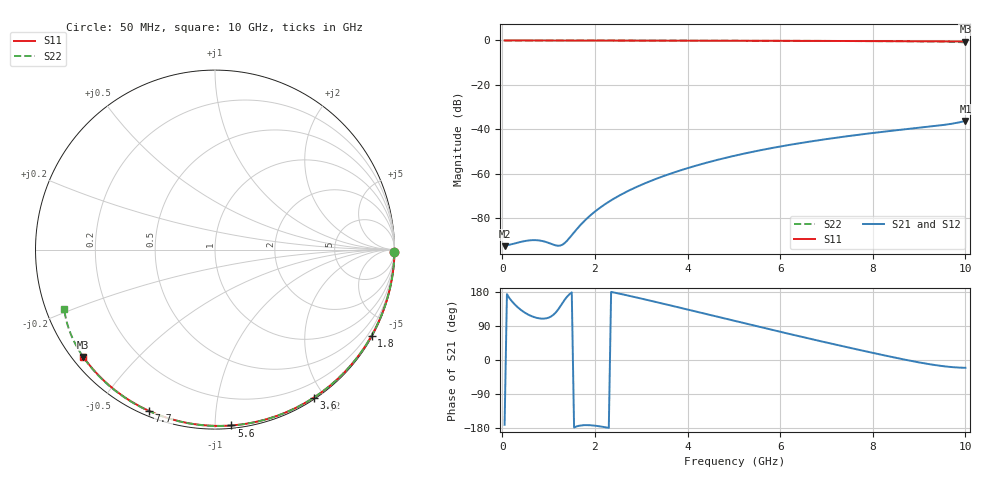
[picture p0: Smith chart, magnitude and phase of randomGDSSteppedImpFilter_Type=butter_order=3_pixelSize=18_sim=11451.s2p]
! freq	dB(S11)	phase(S11)	dB(S12)	phase(S12)
!  dB(S21)	phase(S21)	dB(S22)	phase(S22)
!S-par simulation data
#  GHz  S  DB  R 50
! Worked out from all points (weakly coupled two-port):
!   200 points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, 50 MHz to 10 GHz, reference 50 ohm
!   highest |S21| = -36.17 dB at 10 GHz (marker M1); lowest = -92.5 dB at 50 MHz (marker M2)
!   lowest |S11| = -0.5 dB at 10 GHz (marker M3), VSWR 36.56, Z = 1.54 - j17.8 ohm
!   |S11| at or under -10 dB: nowhere
!   |S22| runs from -0.9 to 0.0 dB; largest |S21 - S12| = 0
!   S11 on the Smith chart (normalised r, x): 50 MHz: open; 1.8 GHz: 0.03, -3.89; 3.6 GHz: 0.02, -1.87; 5.6 GHz: 0.02, -1.10; 7.7 GHz: 0.02, -0.67; 10 GHz: 0.03, -0.36
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0.05  -0.00 -0.8  -92.51 -171.0  -92.51 -171.0  -0.00 -0.8
0.9  -0.02 -14.6  -90.37 109.2  -90.37 109.2  -0.02 -14.8
1.75  -0.04 -28.1  -81.64 -172.0  -81.64 -172.0  -0.04 -28.5
1.8  -0.04 -28.8  -80.61 -171.8  -80.61 -171.8  -0.04 -29.3
1.85  -0.04 -29.6  -79.63 -171.8  -79.63 -171.8  -0.04 -30.1
2.05  -0.04 -32.7  -76.14 -174.1  -76.14 -174.1  -0.04 -33.2
2.2  -0.04 -35.1  -73.90 -176.9  -73.90 -176.9  -0.05 -35.6
2.55  -0.05 -40.5  -69.48 174.5  -69.48 174.5  -0.05 -41.1
2.95  -0.06 -46.6  -65.41 163.6  -65.41 163.6  -0.06 -47.3
3.4  -0.07 -53.3  -61.61 150.7  -61.61 150.7  -0.07 -54.2
3.6  -0.08 -56.3  -60.13 144.9  -60.13 144.9  -0.08 -57.2
4.3  -0.09 -66.5  -55.61 124.5  -55.61 124.5  -0.10 -67.6
5.05  -0.12 -77.1  -51.68 102.3  -51.68 102.3  -0.12 -78.5
5.6  -0.14 -84.7  -49.26 86.2  -49.26 86.2  -0.14 -86.3
6.15  -0.16 -92.1  -47.15 70.2  -47.15 70.2  -0.17 -93.9
6.7  -0.19 -99.3  -45.29 54.5  -45.29 54.5  -0.20 -101.5
7.7  -0.26 -112.2  -42.39 26.9  -42.39 26.9  -0.27 -115.3
8.35  -0.31 -120.3  -40.76 9.6  -40.76 9.6  -0.32 -124.5
8.95  -0.36 -127.8  -39.39 -5.2  -39.39 -5.2  -0.40 -133.7
9.4  -0.41 -133.4  -38.35 -14.4  -38.35 -14.4  -0.48 -141.8
9.75  -0.45 -137.7  -37.30 -19.2  -37.30 -19.2  -0.63 -150.0
10  -0.48 -140.8  -36.17 -20.5  -36.17 -20.5  -0.89 -158.6
